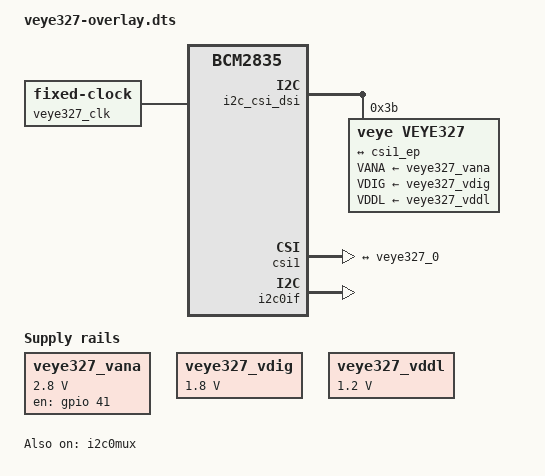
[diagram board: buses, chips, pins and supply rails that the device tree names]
// SPDX-License-Identifier: GPL-2.0-only
// Definitions for VEYE327 camera module on VC I2C bus
/dts-v1/;
/plugin/;

#include <dt-bindings/gpio/gpio.h>

/{
	compatible = "brcm,bcm2835";

	fragment@0 {
		target = <&i2c_csi_dsi>;
		__overlay__ {
			#address-cells = <1>;
			#size-cells = <0>;
			status = "okay";

			veye327: veye327@3b {
				compatible = "veye,veye327";
				reg = <0x3b>;
				status = "okay";

				clocks = <&veye327_clk>;
				clock-names = "xclk";

				VANA-supply = <&veye327_vana>;	/* 2.8v */
				VDIG-supply = <&veye327_vdig>;	/* 1.8v */
				VDDL-supply = <&veye327_vddl>;	/* 1.2v */
				rotation = <0>;

				port {
					veye327_0: endpoint {
						remote-endpoint = <&csi1_ep>;
						clock-lanes = <0>;
						data-lanes = <1 2>;
						clock-noncontinuous;
						link-frequencies =
							/bits/ 64 <297000000>;
					};
				};
			};
		};
	};

	fragment@1 {
		target = <&csi1>;
		__overlay__ {
			status = "okay";

			port {
				csi1_ep: endpoint {
					remote-endpoint = <&veye327_0>;
					clock-lanes = <0>;
					data-lanes = <1 2>;
					clock-noncontinuous;
				};
			};
		};
	};

	fragment@2 {
		target = <&i2c0if>;
		__overlay__ {
			status = "okay";
		};
	};

	fragment@3 {
		target-path="/";
		__overlay__ {
			veye327_vana: fixedregulator@0 {
				compatible = "regulator-fixed";
				regulator-name = "veye327_vana";
				regulator-min-microvolt = <2800000>;
				regulator-max-microvolt = <2800000>;
				gpio = <&gpio 41 GPIO_ACTIVE_HIGH>;
				enable-active-high;
			};
			veye327_vdig: fixedregulator@1 {
				compatible = "regulator-fixed";
				regulator-name = "veye327_vdig";
				regulator-min-microvolt = <1800000>;
				regulator-max-microvolt = <1800000>;
			};
			veye327_vddl: fixedregulator@2 {
				compatible = "regulator-fixed";
				regulator-name = "veye327_vddl";
				regulator-min-microvolt = <1200000>;
				regulator-max-microvolt = <1200000>;
			};

			veye327_clk: camera-clk {
				compatible = "fixed-clock";
				#clock-cells = <0>;
				clock-frequency = <24000000>;
			};
		};
	};

	fragment@4 {
		target = <&i2c0mux>;
		__overlay__ {
			status = "okay";
		};
	};

	fragment@5 {
		target-path="/__overrides__";
		__overlay__ {
			cam0-pwdn-ctrl = <&veye327_vana>,"gpio:0";
			cam0-pwdn      = <&veye327_vana>,"gpio:4";
		};
	};

	__overrides__ {
		rotation = <&veye327>,"rotation:0";
	};
};
